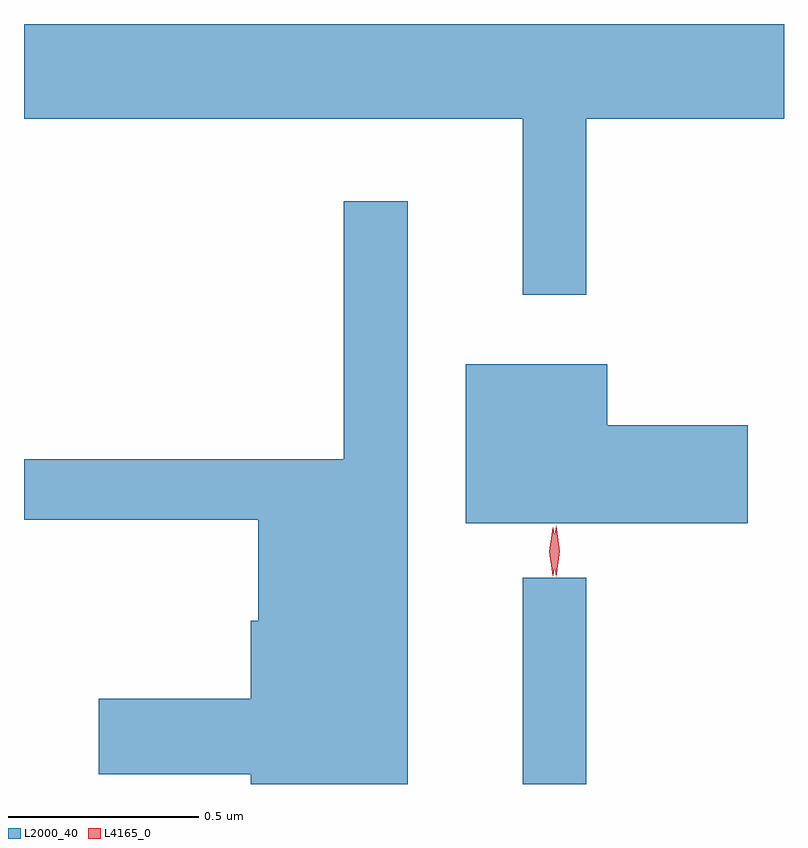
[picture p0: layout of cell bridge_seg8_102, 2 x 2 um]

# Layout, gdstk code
import gdstk
lib = gdstk.Library(unit=1e-6, precision=1e-09)
def R(c, l, rs):  # rectangles x0, y0, x1, y1
    for r in rs: c.add(gdstk.rectangle(r[:2], r[2:], *l))
def P(c, l, *ps):  # polygons
    for p in ps: c.add(gdstk.Polygon(p, *l))
L2000_40 = (2000, 40)
L4165_0 = (4165, 0)

bridge_seg8_102 = lib.new_cell('bridge_seg8_102')
R(bridge_seg8_102, L2000_40, [(1530.251,1808.025,1530.419,1808.568)])
P(bridge_seg8_102, L2000_40, [(1530.419,1809.776),(1530.939,1809.776),(1530.939,1810.025),(1528.939,1810.025),(1528.939,1809.776),(1530.251,1809.776),(1530.251,1809.313),(1530.419,1809.313)],
  [(1529.949,1809.558),(1529.781,1809.558),(1529.781,1808.879),(1528.939,1808.879),(1528.939,1808.721),(1529.556,1808.721),(1529.556,1808.454),(1529.536,1808.454),(1529.536,1808.249),(1529.136,1808.249),(1529.136,1808.051),(1529.536,1808.051),(1529.536,1808.025),(1529.949,1808.025)],
  [(1530.844,1808.969),(1530.474,1808.969),(1530.474,1809.129),(1530.101,1809.129),(1530.101,1808.711),(1530.844,1808.711)])
P(bridge_seg8_102, L4165_0, [(1530.339,1808.57),(1530.339,1808.57),(1530.329,1808.638),(1530.339,1808.705),(1530.339,1808.706),(1530.34,1808.705),(1530.349,1808.638),(1530.34,1808.57)],
  [(1530.331,1808.573),(1530.321,1808.636),(1530.331,1808.699),(1530.331,1808.7),(1530.332,1808.699),(1530.341,1808.636),(1530.332,1808.573),(1530.332,1808.573)])

lib.write_gds('bridge_seg8_102.gds')
